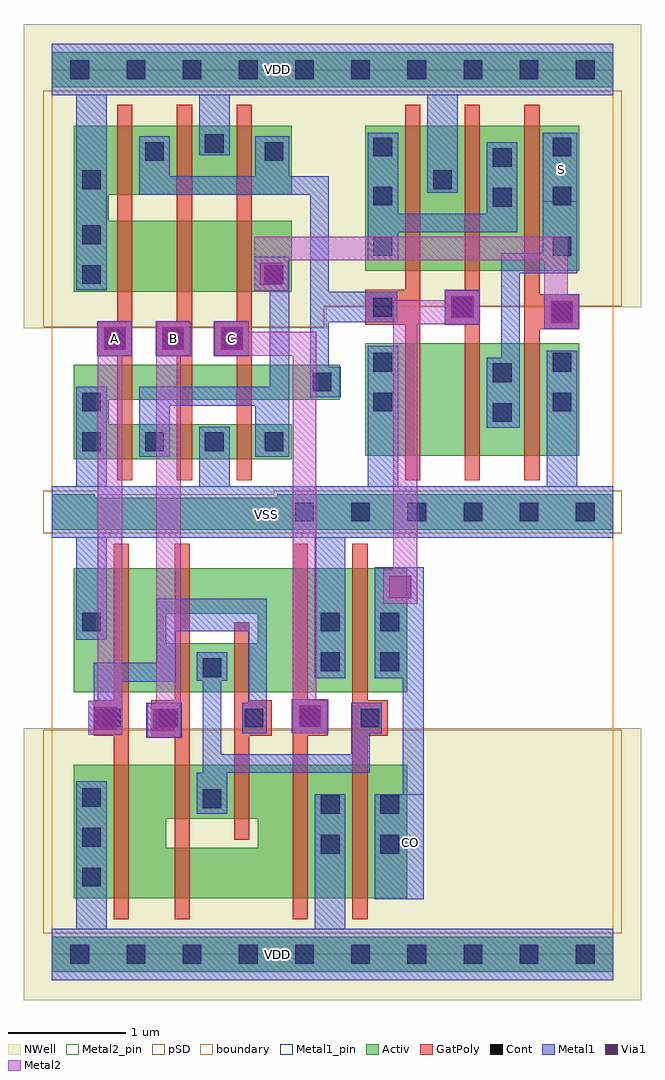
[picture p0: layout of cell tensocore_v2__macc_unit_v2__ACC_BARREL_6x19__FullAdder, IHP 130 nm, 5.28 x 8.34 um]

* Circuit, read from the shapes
.subckt tensocore_v2__macc_unit_v2__ACC_BARREL_6x19__FullAdder A B C CO S VDD VSS
XM1 n1 A VSS VSS sg13_lv_nmos w=1.06u l=0.13u
XM2 n2 A VSS VSS sg13_lv_nmos w=0.3u l=0.13u
XM3 n3 A VSS VSS sg13_lv_nmos w=0.3u l=0.13u
XM4 n4 B n1 VSS sg13_lv_nmos w=0.42u l=0.13u
XM5 n5 B n1 VSS sg13_lv_nmos w=0.39u l=0.13u
XM6 VSS B n2 VSS sg13_lv_nmos w=0.3u l=0.13u
XM7 n6 B n3 VSS sg13_lv_nmos w=0.3u l=0.13u
XM8 n5 A n4 VSS sg13_lv_nmos w=0.42u l=0.13u
XM9 n2 C VSS VSS sg13_lv_nmos w=0.3u l=0.13u
XM10 n7 C n6 VSS sg13_lv_nmos w=0.3u l=0.13u
XM11 VSS C n5 VSS sg13_lv_nmos w=1.06u l=0.13u
XM12 CO n4 VSS VSS sg13_lv_nmos w=1.06u l=0.13u
XM13 n8 n7 VSS VSS sg13_lv_nmos w=0.96u l=0.13u
XM14 S CO n8 VSS sg13_lv_nmos w=0.96u l=0.13u
XM15 VSS n2 S VSS sg13_lv_nmos w=0.96u l=0.13u
XM16 n9 A VDD VDD sg13_lv_pmos w=1.14u l=0.13u
XM17 n10 A VDD VDD sg13_lv_pmos w=0.61u l=0.13u
XM18 n7 A VDD VDD sg13_lv_pmos w=0.59u l=0.13u
XM19 n11 B n9 VDD sg13_lv_pmos w=0.43u l=0.13u
XM20 n4 B n9 VDD sg13_lv_pmos w=0.46u l=0.13u
XM21 n12 B n10 VDD sg13_lv_pmos w=0.61u l=0.13u
XM22 VDD B n7 VDD sg13_lv_pmos w=0.59u l=0.13u
XM23 n11 A n4 VDD sg13_lv_pmos w=0.46u l=0.13u
XM24 n2 C n12 VDD sg13_lv_pmos w=0.61u l=0.13u
XM25 n7 C VDD VDD sg13_lv_pmos w=0.59u l=0.13u
XM26 VDD C n11 VDD sg13_lv_pmos w=1.14u l=0.13u
XM27 CO n4 VDD VDD sg13_lv_pmos w=1.14u l=0.13u
XM28 VDD n7 n13 VDD sg13_lv_pmos w=1.24u l=0.13u
XM29 n13 CO VDD VDD sg13_lv_pmos w=1.24u l=0.13u
XM30 S n2 n13 VDD sg13_lv_pmos w=1.24u l=0.13u
.ends

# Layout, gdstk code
import gdstk
lib = gdstk.Library(unit=1e-6, precision=1e-09)
def R(c, l, rs):  # rectangles x0, y0, x1, y1
    for r in rs: c.add(gdstk.rectangle(r[:2], r[2:], *l))
def A(c, l, x, y, w, h, nx, ny, dx, dy):  # array of equal rectangles
    R(c, l, [(x+i*dx, y+j*dy, x+i*dx+w, y+j*dy+h) for i in range(nx) for j in range(ny)])
def P(c, l, *ps):  # polygons
    for p in ps: c.add(gdstk.Polygon(p, *l))
Activ = (1, 0)
GatPoly = (5, 0)
Cont = (6, 0)
Metal1 = (8, 0)
Metal1_pin = (8, 2)
Metal2 = (10, 0)
Metal2_pin = (10, 2)
pSD = (14, 0)
Via1 = (19, 0)
NWell = (31, 0)
boundary = (189, 4)

tensocore_v2__macc_unit_ = lib.new_cell('tensocore_v2__macc_unit_v2__ACC_BARREL_6x19__FullAdder')
R(tensocore_v2__macc_unit_, Activ, [(0,-3.93,4.8,-3.63), (2.68,0.48,4.51,1.44), (2.68,2.06,4.51,3.3), (0,3.63,4.8,3.93)])
P(tensocore_v2__macc_unit_, Activ, [(0.19,-3.3),(0.19,-2.62),(0.98,-2.62),(0.98,-2.87),(1.76,-2.87),(1.76,-2.62),(0.19,-2.62),(0.19,-2.16),(3.04,-2.16),(3.04,-3.3)],
  [(0.19,-1.54),(0.19,-0.87),(0.98,-0.87),(0.98,-1.12),(1.76,-1.12),(1.76,-0.87),(0.19,-0.87),(0.19,-0.48),(3.04,-0.48),(3.04,-1.54)],
  [(0,-0.15),(0,0.15),(0.37,0.15),(0.37,0.12),(1.93,0.12),(1.93,0.15),(4.8,0.15),(4.8,-0.15)],
  [(0.19,0.45),(0.19,1.26),(2.46,1.26),(2.46,0.96),(0.49,0.96),(0.49,0.75),(2.05,0.75),(2.05,0.45)],
  [(0.19,1.88),(0.19,3.3),(2.05,3.3),(2.05,2.71),(0.49,2.71),(0.49,2.49),(2.05,2.49),(2.05,1.88)])
A(tensocore_v2__macc_unit_, GatPoly, 3.02, 0.27, 0.13, 0.06, 3, 1, 0.51, 0)
R(tensocore_v2__macc_unit_, GatPoly, [(0.53,-0.28,0.66,-0.27), (1.05,-0.28,1.18,-0.27), (2.06,-0.28,2.19,-0.27), (2.57,-0.28,2.7,-0.27), (0.56,0.27,0.69,0.28), (1.07,0.27,1.2,0.33), (1.58,0.27,1.71,0.33)])
P(tensocore_v2__macc_unit_, GatPoly, [(0.53,-3.48),(0.53,-1.91),(0.36,-1.91),(0.36,-1.61),(0.53,-1.61),(0.53,-0.28),(0.66,-0.28),(0.66,-3.48)],
  [(1.05,-3.48),(1.05,-1.91),(0.85,-1.91),(0.85,-1.61),(1.05,-1.61),(1.05,-0.28),(1.18,-0.28),(1.18,-3.48)],
  [(2.06,-3.48),(2.06,-0.28),(2.19,-0.28),(2.19,-1.61),(2.36,-1.61),(2.36,-1.91),(2.19,-1.91),(2.19,-3.48)],
  [(2.57,-3.48),(2.57,-0.28),(2.7,-0.28),(2.7,-1.61),(2.87,-1.61),(2.87,-1.91),(2.7,-1.91),(2.7,-3.48)],
  [(0.56,0.28),(0.56,1.33),(0.39,1.33),(0.39,1.63),(0.56,1.63),(0.56,3.48),(0.69,3.48),(0.69,0.28)],
  [(1.07,0.33),(1.07,1.33),(0.89,1.33),(0.89,1.63),(1.07,1.63),(1.07,3.48),(1.2,3.48),(1.2,0.33)],
  [(1.58,0.33),(1.58,1.33),(1.39,1.33),(1.39,1.63),(1.58,1.63),(1.58,3.48),(1.71,3.48),(1.71,0.33)],
  [(3.02,0.33),(3.02,1.6),(2.68,1.6),(2.68,1.9),(3.02,1.9),(3.02,3.48),(3.15,3.48),(3.15,0.33)],
  [(3.53,0.33),(3.53,1.6),(3.36,1.6),(3.36,1.9),(3.53,1.9),(3.53,3.48),(3.66,3.48),(3.66,0.33)],
  [(4.04,0.33),(4.04,3.48),(4.17,3.48),(4.17,1.86),(4.51,1.86),(4.51,1.56),(4.17,1.56),(4.17,0.33)],
  [(1.56,-2.8),(1.56,-0.94),(1.69,-0.94),(1.69,-1.61),(1.88,-1.61),(1.88,-1.91),(1.69,-1.91),(1.69,-2.8)])
A(tensocore_v2__macc_unit_, Cont, 0.16, -3.86, 0.16, 0.16, 10, 2, 0.48, 7.56)
A(tensocore_v2__macc_unit_, Cont, 0.26, -3.2, 0.16, 0.16, 1, 3, 0, 0.34)
A(tensocore_v2__macc_unit_, Cont, 2.08, -0.08, 0.16, 0.16, 6, 1, 0.48, 0)
A(tensocore_v2__macc_unit_, Cont, 0.8, 0.52, 0.16, 0.16, 3, 1, 0.51, 0)
A(tensocore_v2__macc_unit_, Cont, 0.46, 1.4, 0.16, 0.16, 3, 1, 0.5, 0)
R(tensocore_v2__macc_unit_, Cont, [(2.3,-2.92,2.46,-2.76), (2.81,-2.92,2.97,-2.76), (2.3,-2.58,2.46,-2.42), (2.81,-2.58,2.97,-2.42), (1.29,-2.53,1.45,-2.37), (0.43,-1.84,0.59,-1.68), (0.92,-1.84,1.08,-1.68), (1.65,-1.84,1.81,-1.68), (2.13,-1.84,2.29,-1.68), (2.64,-1.84,2.8,-1.68), (1.29,-1.41,1.45,-1.25), (2.3,-1.36,2.46,-1.2), (2.81,-1.36,2.97,-1.2), (0.26,-1.02,0.42,-0.86), (2.3,-1.02,2.46,-0.86), (2.81,-1.02,2.97,-0.86), (0.26,0.52,0.42,0.68), (3.77,0.77,3.93,0.93), (0.26,0.86,0.42,1.02), (2.75,0.86,2.91,1.02), (4.28,0.86,4.44,1.02), (2.23,1.03,2.39,1.19), (3.77,1.11,3.93,1.27), (2.75,1.2,2.91,1.36), (4.28,1.2,4.44,1.36), (4.28,1.63,4.44,1.79), (2.75,1.67,2.91,1.83), (3.43,1.67,3.59,1.83), (0.26,1.95,0.42,2.11), (1.82,1.95,1.98,2.11), (2.75,2.19,2.91,2.35), (4.28,2.19,4.44,2.35), (0.26,2.29,0.42,2.45), (3.77,2.61,3.93,2.77), (2.75,2.62,2.91,2.78), (4.28,2.62,4.44,2.78), (0.26,2.76,0.42,2.92), (3.26,2.76,3.42,2.92), (3.77,2.95,3.93,3.11), (0.8,3,0.96,3.16), (1.82,3,1.98,3.16), (2.75,3.04,2.91,3.2), (4.28,3.04,4.44,3.2), (1.31,3.07,1.47,3.23)])
A(tensocore_v2__macc_unit_, Metal1, 0.395, 1.335, 0.29, 0.29, 3, 1, 0.5, 0)
R(tensocore_v2__macc_unit_, Metal1, [(0.81,-1.93,1.11,-1.63), (0.815,-1.925,1.105,-1.635), (2.05,-1.89,2.365,-1.6), (2.065,-1.89,2.355,-1.6), (0.39,1.33,0.69,1.63), (0.89,1.33,1.19,1.63), (1.385,1.33,1.685,1.63), (4.21,1.56,4.51,1.86), (4.215,1.565,4.505,1.855), (3.36,1.6,3.66,1.9), (3.365,1.605,3.655,1.895)])
P(tensocore_v2__macc_unit_, Metal1, [(0,-4),(0,-3.56),(0.21,-3.56),(0.21,-2.3),(0.47,-2.3),(0.47,-3.56),(2.25,-3.56),(2.25,-2.41),(2.51,-2.41),(2.51,-3.56),(4.8,-3.56),(4.8,-4)],
  [(0.315,-1.905),(0.315,-1.615),(0.36,-1.615),(0.36,-1.29),(0.9,-1.29),(0.9,-0.74),(1.84,-0.74),(1.84,-1.89),(1.63,-1.89),(1.63,-1.63),(1.68,-1.63),(1.68,-1.02),(1.06,-1.02),(1.06,-1.45),(0.605,-1.45),(0.605,-1.905)],
  [(1.24,-2.58),(1.24,-2.23),(1.29,-2.23),(1.29,-1.44),(1.24,-1.44),(1.24,-1.2),(1.5,-1.2),(1.5,-1.44),(1.45,-1.44),(1.45,-2.07),(2.56,-2.07),(2.56,-1.63),(2.82,-1.63),(2.82,-1.89),(2.72,-1.89),(2.72,-2.23),(1.5,-2.23),(1.5,-2.58)],
  [(2.76,-3.31),(2.76,-2.41),(3,-2.41),(3,-1.42),(2.76,-1.42),(2.76,-0.47),(3.18,-0.47),(3.18,-3.31)],
  [(2.25,-1.42),(2.25,-0.22),(0.47,-0.22),(0.47,-1.09),(0.21,-1.09),(0.21,-0.22),(0,-0.22),(0,0.22),(0.21,0.22),(0.21,1.07),(0.47,1.07),(0.47,0.22),(1.26,0.22),(1.26,0.73),(1.52,0.73),(1.52,0.22),(2.7,0.22),(2.7,1.42),(2.96,1.42),(2.96,0.22),(4.23,0.22),(4.23,1.38),(4.49,1.38),(4.49,0.22),(4.8,0.22),(4.8,-0.22),(2.51,-0.22),(2.51,-1.42)],
  [(0.75,0.47),(0.75,1.07),(1.865,1.07),(1.865,1.89),(1.73,1.89),(1.73,2.18),(2.03,2.18),(2.03,0.47),(1.74,0.47),(1.74,0.91),(1.01,0.91),(1.01,0.47)],
  [(2.21,0.98),(2.21,2.71),(0.75,2.71),(0.75,3.21),(1.01,3.21),(1.01,2.87),(1.74,2.87),(1.74,3.21),(2.03,3.21),(2.03,2.87),(2.37,2.87),(2.37,1.88),(2.955,1.88),(2.955,1.62),(2.37,1.62),(2.37,1.24),(2.47,1.24),(2.47,0.98)],
  [(2.7,2.15),(2.7,3.24),(2.96,3.24),(2.96,2.55),(3.72,2.55),(3.72,3.16),(3.98,3.16),(3.98,2.39),(2.96,2.39),(2.96,2.15)],
  [(3.72,0.72),(3.72,1.32),(3.84,1.32),(3.84,2.21),(4.195,2.21),(4.195,3.24),(4.49,3.24),(4.49,2.04),(4,2.04),(4,0.72)],
  [(0.21,1.9),(0.21,3.56),(0,3.56),(0,4),(4.8,4),(4.8,3.56),(3.47,3.56),(3.47,2.73),(3.21,2.73),(3.21,3.56),(1.52,3.56),(1.52,3.05),(1.26,3.05),(1.26,3.56),(0.47,3.56),(0.47,1.9)])
A(tensocore_v2__macc_unit_, Metal1_pin, 0, -4, 4.8, 0.44, 1, 3, 0, 3.78)
R(tensocore_v2__macc_unit_, Metal1_pin, [(2.76,-3.31,3.18,-2.41), (4.195,2.65,4.49,3.24)])
P(tensocore_v2__macc_unit_, Metal2, [(0.315,-1.905),(0.315,-1.615),(0.395,-1.615),(0.395,1.625),(0.685,1.625),(0.685,1.335),(0.605,1.335),(0.605,-1.905)],
  [(0.815,-1.925),(0.815,-1.635),(0.895,-1.635),(0.895,1.625),(1.185,1.625),(1.185,1.335),(1.105,1.335),(1.105,-1.925)],
  [(2.06,-1.89),(2.06,1.335),(1.395,1.335),(1.395,1.625),(1.685,1.625),(1.685,1.54),(2.26,1.54),(2.26,-1.6),(2.355,-1.6),(2.355,-1.89)],
  [(2.835,-0.785),(2.835,-0.495),(2.92,-0.495),(2.92,1.81),(3.365,1.81),(3.365,1.895),(3.655,1.895),(3.655,1.605),(3.125,1.605),(3.125,-0.785)],
  [(4.21,1.565),(4.21,2.15),(2.02,2.15),(2.02,1.89),(1.73,1.89),(1.73,2.35),(4.41,2.35),(4.41,1.855),(4.505,1.855),(4.505,1.565)])
A(tensocore_v2__macc_unit_, Metal2_pin, 0.395, 1.335, 0.29, 0.29, 3, 1, 0.5, 0)
R(tensocore_v2__macc_unit_, pSD, [(-0.07,-3.6,4.87,-1.86)])
P(tensocore_v2__macc_unit_, pSD, [(-0.07,-0.18),(-0.07,0.18),(0.4,0.18),(0.4,0.15),(1.9,0.15),(1.9,0.18),(4.87,0.18),(4.87,-0.18)],
  [(-0.07,1.58),(-0.07,3.6),(4.87,3.6),(4.87,1.76),(2.33,1.76),(2.33,1.58)])
A(tensocore_v2__macc_unit_, Via1, 0.445, 1.385, 0.19, 0.19, 3, 1, 0.5, 0)
R(tensocore_v2__macc_unit_, Via1, [(0.865,-1.875,1.055,-1.685), (0.365,-1.855,0.555,-1.665), (2.115,-1.84,2.305,-1.65), (2.885,-0.735,3.075,-0.545), (4.265,1.615,4.455,1.805), (3.415,1.655,3.605,1.845), (1.78,1.94,1.97,2.13)])
R(tensocore_v2__macc_unit_, NWell, [(-0.24,-4.17,5.04,-1.85)])
P(tensocore_v2__macc_unit_, NWell, [(-0.24,1.57),(-0.24,4.17),(5.04,4.17),(5.04,1.75),(2.35,1.75),(2.35,1.57)])
R(tensocore_v2__macc_unit_, boundary, [(0,-3.78,4.8,3.78)])
tensocore_v2__macc_unit_.add(gdstk.Label('CO', (3.07,-2.82), layer=8, texttype=25))
tensocore_v2__macc_unit_.add(gdstk.Label('S', (4.36,2.93), layer=8, texttype=25))
tensocore_v2__macc_unit_.add(gdstk.Label('VDD', (1.93,-3.78), layer=8, texttype=25))
tensocore_v2__macc_unit_.add(gdstk.Label('VDD', (1.93,3.78), layer=8, texttype=25))
tensocore_v2__macc_unit_.add(gdstk.Label('VSS', (1.84,-0.02), layer=8, texttype=25))
tensocore_v2__macc_unit_.add(gdstk.Label('A', (0.54,1.48), layer=10, texttype=25))
tensocore_v2__macc_unit_.add(gdstk.Label('B', (1.04,1.48), layer=10, texttype=25))
tensocore_v2__macc_unit_.add(gdstk.Label('C', (1.54,1.48), layer=10, texttype=25))

lib.write_gds('tensocore_v2__macc_unit_v2__ACC_BARREL_6x19__FullAdder.gds')
